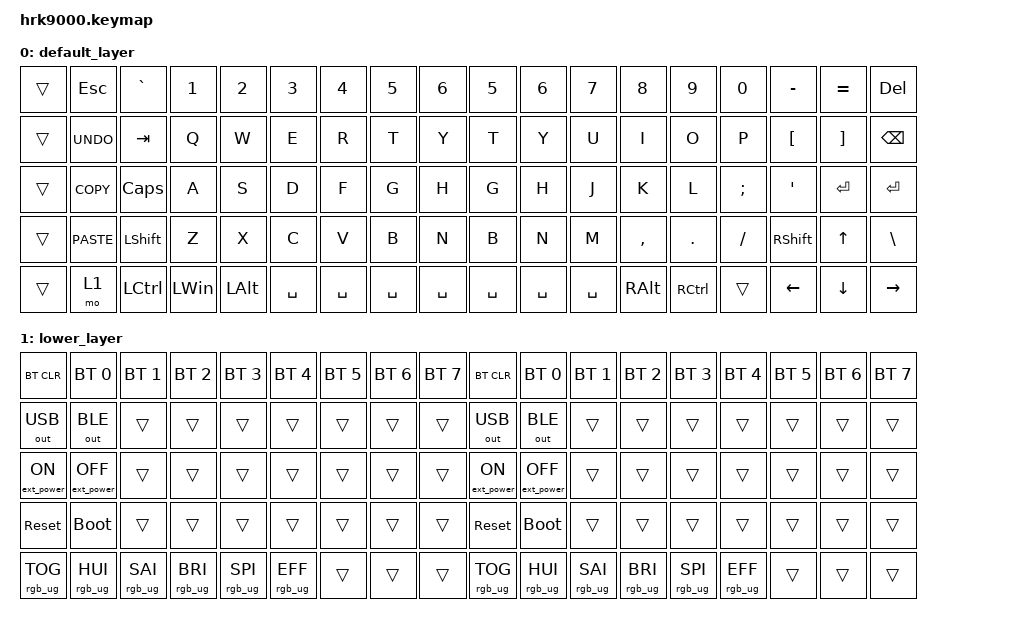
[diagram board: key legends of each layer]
/*
 * Copyright (c) 2020 The ZMK Contributors
 *
 * SPDX-License-Identifier: MIT
 */

#include <behaviors.dtsi>
#include <dt-bindings/zmk/bt.h>
#include <dt-bindings/zmk/ext_power.h>
#include <dt-bindings/zmk/keys.h>
#include <dt-bindings/zmk/outputs.h>
#include <dt-bindings/zmk/rgb.h>

#define DEFAULT 0
#define LOWER   1

/ {
    keymap {
        compatible = "zmk,keymap";

        default_layer {
            // | Esc   | Vol Up | Esc   | F1   | F2  | F3  | F4  | F5  | F6    | F5     | F6  | F7  | F8  | F9  | F10  | F11   | F12   | Del    |
            // | Home  | Vol Dn | `     | 1    | 2   | 3   | 4   | 5   | 6     | 5      | 6   | 7   | 8   | 9   | 0    | -     | =     | Bk Spc |
            // | End   | Tab    | Tab   | Q    | W   | E   | R   | T   | Y     | T      | Y   | U   | I   | O   | P    | [     | ]     | \      |
            // | Pg Up | Caps   | Ctrl  | A    | S   | D   | F   | G   | H     | G      | H   | J   | K   | L   | ;    | '     | Enter | Enter  |
            // | Pg Dn | Up     | Shift | Z    | X   | C   | V   | B   | N     | B      | N   | M   | ,   | .   | /    | Shift | Up    |        |

            bindings = <
&trans  &kp ESCAPE   &kp GRAVE  &kp N1        &kp N2    &kp N3     &kp N4     &kp N5     &kp N6     &kp N5     &kp N6     &kp N7     &kp N8     &kp N9             &kp N0     &kp MINUS  &kp EQUAL  &kp DEL
&trans  &kp K_UNDO   &kp TAB    &kp Q         &kp W     &kp E      &kp R      &kp T      &kp Y      &kp T      &kp Y      &kp U      &kp I      &kp O              &kp P      &kp LBKT   &kp RBKT   &kp BACKSPACE
&trans  &kp K_COPY   &kp CAPS   &kp A         &kp S     &kp D      &kp F      &kp G      &kp H      &kp G      &kp H      &kp J      &kp K      &kp L              &kp SEMI   &kp APOS   &kp ENTER  &kp ENTER
&trans  &kp K_PASTE  &kp LSHFT  &kp Z         &kp X     &kp C      &kp V      &kp B      &kp N      &kp B      &kp N      &kp M      &kp COMMA  &kp DOT            &kp SLASH  &kp RSHFT  &kp UP     &kp BSLH
&trans  &mo 1        &kp LCTRL  &kp LEFT_WIN  &kp LALT  &kp SPACE  &kp SPACE  &kp SPACE  &kp SPACE  &kp SPACE  &kp SPACE  &kp SPACE  &kp RALT   &kp RIGHT_CONTROL  &trans     &kp LEFT   &kp DOWN   &kp RIGHT
            >;
        };

        lower_layer {
            // | | | | | | | | | | | | | | | | | | |
            // | | | | | | | | | | | | | | | | | | |
            // | | | | | | | | | | | | | | | | | | |
            // | | | | | | | | | | | | | | | | | | |
            // | | | | | | | | | | | | | | | | | | |
            // | | | | | | | | | | | | | | | | | | |

            bindings = <
&bt BT_CLR        &bt BT_SEL 0       &bt BT_SEL 1     &bt BT_SEL 2     &bt BT_SEL 3     &bt BT_SEL 4     &bt BT_SEL 5  &bt BT_SEL 6  &bt BT_SEL 7  &bt BT_CLR        &bt BT_SEL 0       &bt BT_SEL 1     &bt BT_SEL 2     &bt BT_SEL 3     &bt BT_SEL 4     &bt BT_SEL 5  &bt BT_SEL 6  &bt BT_SEL 7
&out OUT_USB      &out OUT_BLE       &trans           &trans           &trans           &trans           &trans        &trans        &trans        &out OUT_USB      &out OUT_BLE       &trans           &trans           &trans           &trans           &trans        &trans        &trans
&ext_power EP_ON  &ext_power EP_OFF  &trans           &trans           &trans           &trans           &trans        &trans        &trans        &ext_power EP_ON  &ext_power EP_OFF  &trans           &trans           &trans           &trans           &trans        &trans        &trans
&sys_reset        &bootloader        &trans           &trans           &trans           &trans           &trans        &trans        &trans        &sys_reset        &bootloader        &trans           &trans           &trans           &trans           &trans        &trans        &trans
&rgb_ug RGB_TOG   &rgb_ug RGB_HUI    &rgb_ug RGB_SAI  &rgb_ug RGB_BRI  &rgb_ug RGB_SPI  &rgb_ug RGB_EFF  &trans        &trans        &trans        &rgb_ug RGB_TOG   &rgb_ug RGB_HUI    &rgb_ug RGB_SAI  &rgb_ug RGB_BRI  &rgb_ug RGB_SPI  &rgb_ug RGB_EFF  &trans        &trans        &trans
            >;
        };
    };
};
